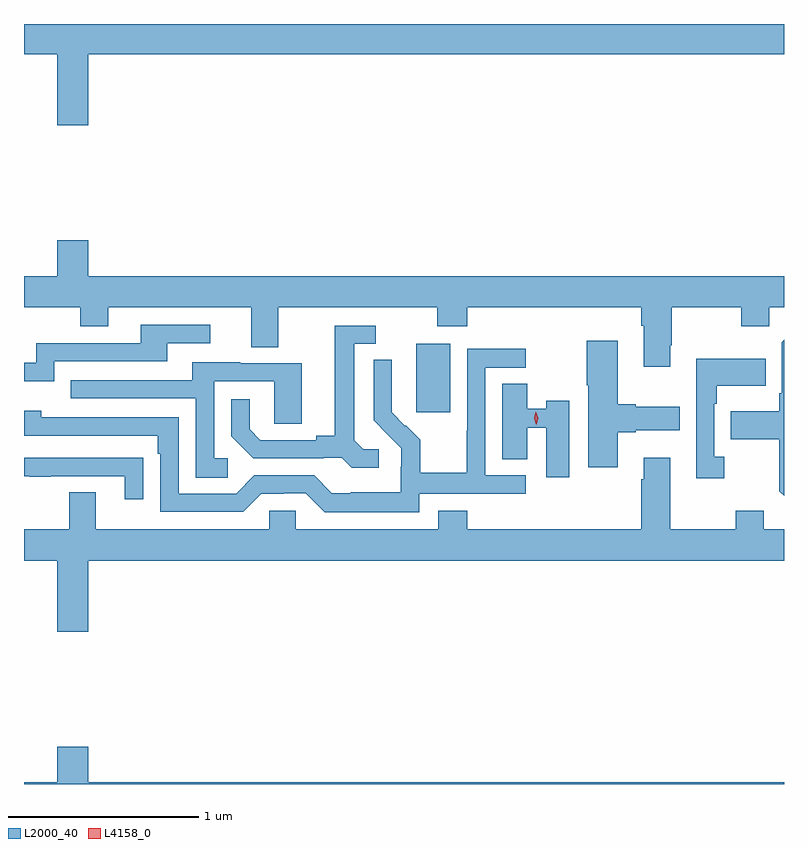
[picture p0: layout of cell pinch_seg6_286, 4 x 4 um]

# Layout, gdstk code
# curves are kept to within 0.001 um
import gdstk
lib = gdstk.Library(unit=1e-6, precision=1e-09)
def R(c, l, rs):  # rectangles x0, y0, x1, y1
    for r in rs: c.add(gdstk.rectangle(r[:2], r[2:], *l))
def P(c, l, *ps):  # polygons
    for p in ps: c.add(gdstk.Polygon(p, *l))
L2000_40 = (2000, 40)
L4158_0 = (4158, 0)

pinch_seg6_286 = lib.new_cell('pinch_seg6_286')
R(pinch_seg6_286, L2000_40, [(874.19,973.425,874.369,973.786)])
P(pinch_seg6_286, L2000_40, [(872.464,975.308),(876.126,975.308),(876.126,975.468),(872.126,975.468),(872.126,975.308),(872.3,975.308),(872.3,974.934),(872.464,974.934)],
  [(875.527,973.777),(875.535,973.777),(875.535,973.976),(875.902,973.976),(875.902,973.877),(876.048,973.877),(876.048,973.976),(876.126,973.976),(876.126,974.14),(872.464,974.14),(872.464,974.329),(872.3,974.329),(872.3,974.14),(872.126,974.14),(872.126,973.976),(872.422,973.976),(872.422,973.877),(872.569,973.877),(872.569,973.976),(873.323,973.976),(873.323,973.768),(873.463,973.768),(873.463,973.976),(874.3,973.976),(874.3,973.877),(874.46,973.877),(874.46,973.976),(875.375,973.976),(875.375,973.88),(875.387,973.88),(875.387,973.665),(875.527,973.665)],
  [(872.286,973.692),(872.881,973.692),(872.881,973.788),(873.106,973.788),(873.106,973.884),(872.741,973.884),(872.741,973.788),(872.19,973.788),(872.19,973.686),(872.126,973.686),(872.126,973.589),(872.286,973.589)],
  [(873.994,973.23),(873.912,973.23),(873.865,973.277),(873.865,973.785),(873.976,973.785),(873.976,973.881),(873.761,973.881),(873.761,973.301),(873.665,973.301),(873.665,973.278),(873.37,973.278),(873.313,973.335),(873.313,973.492),(873.216,973.492),(873.216,973.298),(873.332,973.182),(873.704,973.182),(873.704,973.185),(873.798,973.185),(873.85,973.133),(873.994,973.133)],
  [(876.126,973.806),(876.114,973.794),(876.114,973.525),(876.102,973.525),(876.102,973.429),(875.845,973.429),(875.845,973.282),(876.102,973.282),(876.102,973.009),(876.126,972.985)],
  [(875.251,973.319),(875.347,973.319),(875.347,973.331),(875.578,973.331),(875.578,973.453),(875.347,973.453),(875.347,973.466),(875.251,973.466),(875.251,973.801),(875.089,973.801),(875.089,973.567),(875.096,973.567),(875.096,973.134),(875.251,973.134)],
  [(874.206,972.996),(874.768,972.996),(874.768,973.092),(874.554,973.092),(874.554,973.659),(874.768,973.659),(874.768,973.758),(874.458,973.758),(874.458,973.328),(874.456,973.328),(874.456,973.105),(874.211,973.105),(874.211,973.279),(874.134,973.356),(874.131,973.353),(874.061,973.424),(874.062,973.7),(873.966,973.7),(873.966,973.382),(874.112,973.234),(874.112,973.137),(874.11,973.137),(874.11,973.003),(873.847,973.003),(873.847,972.999),(873.747,972.999),(873.654,973.092),(873.339,973.092),(873.243,972.996),(872.94,972.996),(872.94,973.398),(872.216,973.398),(872.216,973.432),(872.126,973.432),(872.126,973.302),(872.831,973.302),(872.831,973.205),(872.844,973.205),(872.844,972.9),(873.279,972.9),(873.375,972.996),(873.494,972.996),(873.494,972.999),(873.609,972.999),(873.709,972.899),(874.206,972.899)],
  [(875.812,973.19),(875.76,973.19),(875.76,973.469),(875.773,973.469),(875.773,973.565),(876.029,973.565),(876.029,973.705),(875.664,973.705),(875.664,973.077),(875.812,973.077)],
  [(873.199,973.182),(873.126,973.182),(873.126,973.587),(873.444,973.587),(873.444,973.363),(873.589,973.363),(873.589,973.683),(873.265,973.683),(873.265,973.687),(873.011,973.687),(873.011,973.593),(872.371,973.593),(872.371,973.497),(873.03,973.497),(873.03,973.081),(873.199,973.081)],
  [(874.996,973.484),(874.874,973.484),(874.874,973.442),(874.774,973.442),(874.774,973.574),(874.643,973.574),(874.643,973.177),(874.774,973.177),(874.774,973.342),(874.874,973.342),(874.874,973.083),(874.996,973.083)],
  [(872.464,972.644),(876.126,972.644),(876.126,972.808),(876.019,972.808),(876.019,972.907),(875.872,972.907),(875.872,972.808),(875.527,972.808),(875.527,973.186),(875.387,973.186),(875.387,973.073),(875.375,973.073),(875.375,972.808),(874.46,972.808),(874.46,972.907),(874.307,972.907),(874.307,972.808),(873.555,972.808),(873.555,972.906),(873.417,972.906),(873.417,972.808),(872.503,972.808),(872.503,973.003),(872.363,973.003),(872.363,972.808),(872.126,972.808),(872.126,972.644),(872.3,972.644),(872.3,972.27),(872.464,972.27)],
  [(872.753,973.184),(872.651,973.184),(872.651,973.185),(872.126,973.185),(872.126,973.089),(872.155,973.089),(872.155,973.084),(872.267,973.084),(872.267,973.089),(872.657,973.089),(872.657,972.966),(872.753,972.966)],
  [(876.126,971.476),(872.464,971.476),(872.464,971.665),(872.3,971.665),(872.3,971.476),(872.126,971.476),(872.126,971.468),(876.126,971.468)])
P(pinch_seg6_286, L4158_0, [(874.823,973.358),(874.823,973.358),(874.812,973.392),(874.82,973.427),(874.82,973.427),(874.82,973.427),(874.832,973.393),(874.823,973.358)])

lib.write_gds('pinch_seg6_286.gds')
